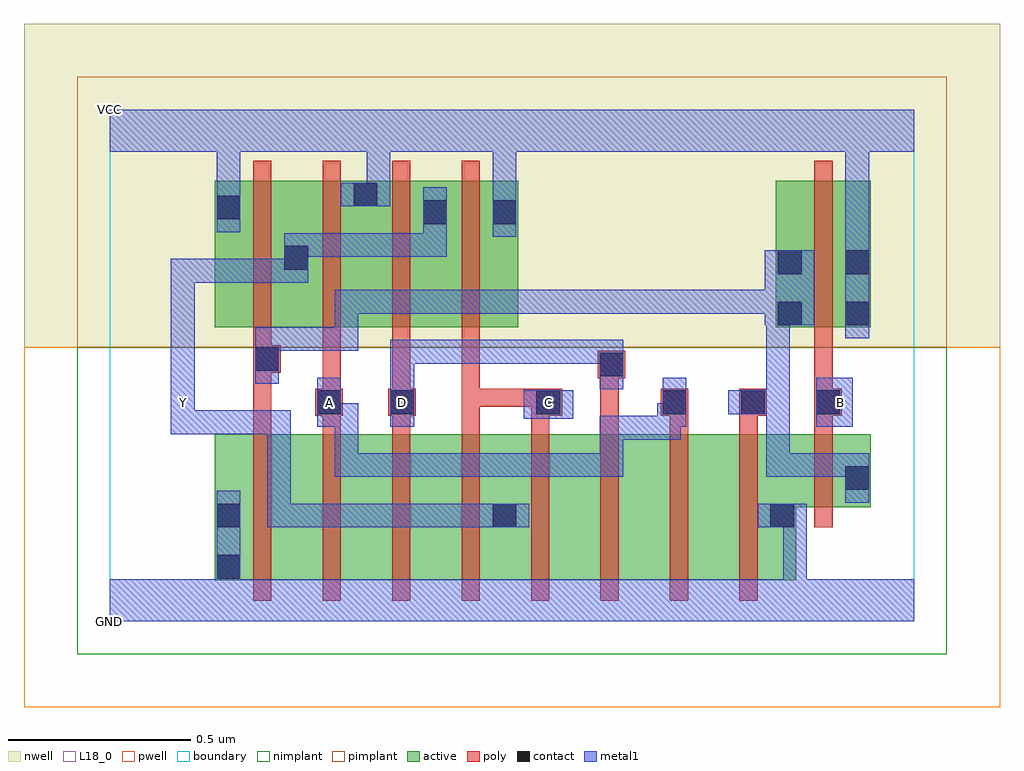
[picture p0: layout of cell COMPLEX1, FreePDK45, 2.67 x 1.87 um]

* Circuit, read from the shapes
.subckt COMPLEX1 A B C D GND VCC Y
M1 n1 n2 GND VSUBS nfet w=0.4u l=0.05u
M2 n3 A n1 VSUBS nfet w=0.4u l=0.05u
M3 n4 D n3 VSUBS nfet w=0.4u l=0.05u
M4 Y C n4 VSUBS nfet w=0.4u l=0.05u
M5 n5 C Y VSUBS nfet w=0.4u l=0.05u
M6 n6 D n5 VSUBS nfet w=0.4u l=0.05u
M7 n7 A n6 VSUBS nfet w=0.4u l=0.05u
M8 GND n2 n7 VSUBS nfet w=0.4u l=0.05u
M9 n2 B GND VSUBS nfet w=0.2u l=0.05u
M10 Y n2 VCC n8 pfet w=0.4u l=0.05u
M11 VCC A Y n8 pfet w=0.4u l=0.05u
M12 Y D VCC n8 pfet w=0.4u l=0.05u
M13 VCC C Y n8 pfet w=0.4u l=0.05u
M14 VCC B n2 n8 pfet w=0.4u l=0.05u
.ends

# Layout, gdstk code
import gdstk
lib = gdstk.Library(unit=1e-6, precision=1e-09)
def R(c, l, rs):  # rectangles x0, y0, x1, y1
    for r in rs: c.add(gdstk.rectangle(r[:2], r[2:], *l))
def A(c, l, x, y, w, h, nx, ny, dx, dy):  # array of equal rectangles
    R(c, l, [(x+i*dx, y+j*dy, x+i*dx+w, y+j*dy+h) for i in range(nx) for j in range(ny)])
active = (1, 0)
pwell = (2, 0)
nwell = (3, 0)
nimplant = (4, 0)
pimplant = (5, 0)
poly = (9, 0)
contact = (10, 0)
metal1 = (11, 0)
L18_0 = (18, 0)
boundary = (235, 0)

complex1 = lib.new_cell('COMPLEX1')
A(complex1, active, 0.472, 0.805, 0.265, 0.4, 3, 1, 0.19, 0)
R(complex1, active, [(0.287,0.112,0.362,0.512), (0.287,0.112,0.512,0.512), (0.512,0.112,0.702,0.512), (0.702,0.112,0.892,0.512), (0.892,0.112,1.117,0.512), (1.042,0.112,1.272,0.512), (1.272,0.112,1.462,0.512), (1.462,0.112,1.652,0.512), (1.652,0.112,1.877,0.512), (1.802,0.112,1.877,0.512), (1.042,0.2,1.117,0.492), (1.802,0.312,2.082,0.512), (2.007,0.312,2.082,0.512), (0.287,0.805,0.362,1.205), (0.287,0.805,0.547,1.205), (0.472,0.805,0.547,1.2), (1.822,0.805,2.082,1.205), (1.822,0.805,1.897,1.2), (2.007,0.805,2.082,1.205), (0.662,0.907,0.737,1.205), (0.852,0.907,0.927,1.2), (1.042,0.907,1.117,1.205)])
R(complex1, pwell, [(-0.235,-0.235,2.435,0.75)])
R(complex1, nwell, [(-0.235,0.75,2.435,1.635)])
R(complex1, nimplant, [(-0.09,-0.09,2.29,0.75)])
R(complex1, pimplant, [(-0.09,0.75,2.29,1.49)])
A(complex1, poly, 0.392, 0.057, 0.05, 0.51, 8, 1, 0.19, 0)
A(complex1, poly, 0.772, 0.517, 0.05, 0.095, 3, 1, 0.38, 0)
A(complex1, poly, 0.582, 0.587, 0.05, 0.213, 3, 1, 0.19, 0)
A(complex1, poly, 0.392, 0.75, 0.05, 0.51, 4, 1, 0.19, 0)
R(complex1, poly, [(1.927,0.257,1.977,0.567), (0.392,0.517,0.442,0.73), (0.582,0.517,0.632,0.612), (0.962,0.517,1.012,0.637), (1.342,0.517,1.392,0.715), (1.722,0.517,1.772,0.612), (1.927,0.517,1.977,0.612), (0.562,0.562,0.637,0.637), (0.762,0.562,0.837,0.637), (0.772,0.562,0.822,0.612), (0.772,0.562,0.822,0.612), (1.152,0.562,1.237,0.637), (1.507,0.562,1.582,0.637), (1.722,0.562,1.797,0.637), (1.927,0.562,2.002,0.637), (0.582,0.587,0.632,0.637), (0.582,0.587,0.632,0.637), (0.962,0.587,1.012,0.637), (0.962,0.587,1.012,0.637), (0.962,0.587,1.012,0.637), (0.962,0.587,1.202,0.637), (1.152,0.587,1.202,0.637), (1.152,0.587,1.202,0.637), (1.927,0.587,1.977,0.8), (1.927,0.587,1.977,0.637), (1.927,0.587,1.977,0.637), (1.335,0.665,1.41,0.74), (1.342,0.665,1.392,0.715), (1.342,0.665,1.392,0.715), (0.392,0.68,0.442,0.73), (0.392,0.68,0.442,0.73), (0.392,0.68,0.467,0.755), (0.392,0.705,0.442,0.8), (1.927,0.75,1.977,1.26)])
R(complex1, contact, [(0.292,0.117,0.357,0.182), (0.292,0.257,0.357,0.322), (1.047,0.257,1.112,0.322), (1.807,0.257,1.872,0.322), (2.012,0.36,2.077,0.425), (0.567,0.567,0.632,0.632), (0.767,0.567,0.832,0.632), (1.167,0.567,1.232,0.632), (1.512,0.567,1.577,0.632), (1.727,0.567,1.792,0.632), (1.932,0.567,1.997,0.632), (1.34,0.67,1.405,0.735), (0.397,0.685,0.462,0.75), (1.827,0.81,1.892,0.875), (2.012,0.81,2.077,0.875), (1.827,0.95,1.892,1.015), (2.012,0.95,2.077,1.015), (0.477,0.962,0.542,1.027), (0.857,1.087,0.922,1.152), (1.047,1.087,1.112,1.152), (0.292,1.1,0.357,1.165), (0.667,1.135,0.732,1.2)])
R(complex1, metal1, [(0,0,2.2,0.115), (0.292,0.05,0.357,0.147), (1.842,0.05,1.907,0.322), (0.292,0.082,0.357,0.357), (0.43,0.257,0.495,0.322), (0.43,0.257,0.68,0.322), (0.43,0.257,0.495,0.577), (0.615,0.257,0.68,0.322), (0.615,0.257,0.68,0.322), (0.615,0.257,0.68,0.322), (0.615,0.257,0.922,0.322), (0.857,0.257,0.922,0.322), (0.857,0.257,0.922,0.322), (0.857,0.257,0.922,0.322), (0.857,0.257,0.922,0.322), (0.857,0.257,0.922,0.322), (0.857,0.257,1.06,0.322), (0.995,0.257,1.06,0.322), (0.995,0.257,1.077,0.322), (1.012,0.257,1.147,0.322), (1.772,0.257,1.907,0.322), (2.012,0.325,2.077,0.46), (0.615,0.395,0.922,0.46), (0.615,0.395,0.68,0.597), (0.857,0.395,0.922,0.46), (0.857,0.395,0.922,0.46), (0.857,0.395,0.922,0.46), (0.857,0.395,1.06,0.46), (0.995,0.395,1.06,0.46), (0.995,0.395,1.06,0.46), (0.995,0.395,1.06,0.46), (0.995,0.395,1.06,0.46), (0.995,0.395,1.06,0.46), (0.995,0.395,1.197,0.46), (1.132,0.395,1.197,0.46), (1.132,0.395,1.405,0.46), (1.34,0.395,1.405,0.46), (1.34,0.395,1.405,0.562), (1.795,0.395,1.86,0.46), (1.795,0.395,2.077,0.46), (1.795,0.395,1.86,0.632), (2.012,0.395,2.077,0.46), (2.012,0.395,2.077,0.46), (1.34,0.497,1.405,0.562), (1.34,0.497,1.405,0.562), (1.34,0.497,1.405,0.562), (1.34,0.497,1.562,0.562), (1.497,0.497,1.562,0.597), (0.167,0.512,0.495,0.577), (0.167,0.512,0.232,0.667), (0.43,0.512,0.495,0.577), (0.43,0.512,0.495,0.577), (0.43,0.512,0.495,0.577), (0.567,0.532,0.632,0.667), (0.567,0.532,0.68,0.597), (0.767,0.532,0.832,0.667), (1.497,0.532,1.577,0.597), (1.512,0.532,1.577,0.667), (1.932,0.532,2.032,0.667), (1.132,0.555,1.267,0.632), (1.692,0.567,1.827,0.632), (1.762,0.567,1.86,0.632), (1.795,0.567,1.86,0.632), (1.795,0.567,1.86,0.875), (0.167,0.602,0.232,0.992), (0.767,0.602,0.832,0.667), (0.767,0.602,0.832,0.77), (1.34,0.635,1.405,0.77), (0.397,0.65,0.462,0.785), (0.767,0.705,1.06,0.77), (0.995,0.705,1.06,0.77), (0.995,0.705,1.267,0.77), (1.202,0.705,1.267,0.77), (1.202,0.705,1.267,0.77), (1.202,0.705,1.267,0.77), (1.202,0.705,1.405,0.77), (1.34,0.705,1.405,0.77), (1.34,0.705,1.405,0.77), (0.397,0.72,0.462,0.785), (0.397,0.72,0.462,0.805), (0.397,0.74,0.68,0.805), (0.615,0.74,0.68,0.805), (0.615,0.74,0.68,0.805), (0.615,0.74,0.68,0.805), (0.615,0.74,0.68,0.907), (2.012,0.775,2.077,1.05), (1.792,0.81,1.927,1.015), (1.795,0.81,1.86,0.875), (1.795,0.81,1.86,0.875), (0.615,0.842,0.68,0.907), (0.615,0.842,0.817,0.907), (0.752,0.842,0.817,0.907), (0.752,0.842,0.817,0.907), (0.752,0.842,0.817,0.907), (0.752,0.842,1.06,0.907), (0.995,0.842,1.06,0.907), (0.995,0.842,1.06,0.907), (0.995,0.842,1.06,0.907), (0.995,0.842,1.197,0.907), (1.132,0.842,1.197,0.907), (1.132,0.842,1.425,0.907), (1.36,0.842,1.425,0.907), (1.36,0.842,1.425,0.907), (1.36,0.842,1.425,0.907), (1.36,0.842,1.562,0.907), (1.497,0.842,1.562,0.907), (1.497,0.842,1.562,0.907), (1.497,0.842,1.562,0.907), (1.497,0.842,1.7,0.907), (1.635,0.842,1.7,0.907), (1.635,0.842,1.857,0.907), (1.792,0.842,1.857,0.907), (1.792,0.842,1.857,0.907), (0.167,0.927,0.232,0.992), (0.167,0.927,0.232,0.992), (0.167,0.927,0.232,0.992), (0.167,0.927,0.232,0.992), (0.167,0.927,0.232,0.992), (0.167,0.927,0.542,0.992), (0.477,0.927,0.542,1.062), (2.012,0.985,2.077,1.35), (0.477,0.997,0.542,1.062), (0.477,0.997,0.542,1.062), (0.477,0.997,0.68,1.062), (0.615,0.997,0.68,1.062), (0.615,0.997,0.68,1.062), (0.615,0.997,0.68,1.062), (0.615,0.997,0.922,1.062), (0.857,0.997,0.922,1.117), (0.857,1.052,0.922,1.117), (0.857,1.052,0.922,1.187), (1.047,1.052,1.112,1.187), (0.292,1.065,0.357,1.2), (1.047,1.122,1.112,1.35), (0.292,1.135,0.357,1.35), (0.632,1.135,0.767,1.2), (0.702,1.135,0.767,1.35), (0,1.285,2.2,1.4)])
R(complex1, L18_0, [(0,0,2.2,0.115), (0.292,0.05,0.357,0.147), (1.842,0.05,1.907,0.322), (0.292,0.082,0.357,0.357), (0.43,0.257,0.495,0.322), (0.43,0.257,0.495,0.577), (0.43,0.257,0.68,0.322), (0.615,0.257,0.68,0.322), (0.615,0.257,0.68,0.322), (0.615,0.257,0.68,0.322), (0.615,0.257,0.922,0.322), (0.857,0.257,0.922,0.322), (0.857,0.257,0.922,0.322), (0.857,0.257,0.922,0.322), (0.857,0.257,0.922,0.322), (0.857,0.257,0.922,0.322), (0.857,0.257,1.06,0.322), (0.995,0.257,1.06,0.322), (0.995,0.257,1.077,0.322), (1.012,0.257,1.147,0.322), (1.772,0.257,1.907,0.322), (0.615,0.395,0.68,0.597), (0.615,0.395,0.922,0.46), (0.857,0.395,0.922,0.46), (0.857,0.395,0.922,0.46), (0.857,0.395,0.922,0.46), (0.857,0.395,1.06,0.46), (0.995,0.395,1.06,0.46), (0.995,0.395,1.06,0.46), (0.995,0.395,1.06,0.46), (0.995,0.395,1.06,0.46), (0.995,0.395,1.06,0.46), (0.995,0.395,1.197,0.46), (1.132,0.395,1.197,0.46), (1.132,0.395,1.405,0.46), (1.34,0.395,1.405,0.46), (1.34,0.395,1.405,0.562), (1.34,0.497,1.405,0.562), (1.34,0.497,1.405,0.562), (1.34,0.497,1.405,0.562), (1.34,0.497,1.562,0.562), (1.497,0.497,1.562,0.597), (0.167,0.512,0.232,0.667), (0.167,0.512,0.495,0.577), (0.43,0.512,0.495,0.577), (0.43,0.512,0.495,0.577), (0.43,0.512,0.495,0.577), (0.567,0.532,0.632,0.667), (0.567,0.532,0.68,0.597), (0.767,0.532,0.832,0.667), (1.497,0.532,1.577,0.597), (1.512,0.532,1.577,0.667), (1.932,0.532,2.032,0.667), (1.132,0.555,1.267,0.632), (0.167,0.567,0.232,0.632), (0.567,0.567,0.632,0.632), (0.767,0.567,0.832,0.632), (1.167,0.567,1.232,0.632), (1.967,0.567,2.032,0.632), (0.167,0.602,0.232,0.992), (0.767,0.602,0.832,0.667), (0.767,0.602,0.832,0.77), (1.34,0.635,1.405,0.77), (0.767,0.705,1.06,0.77), (0.995,0.705,1.06,0.77), (0.995,0.705,1.267,0.77), (1.202,0.705,1.267,0.77), (1.202,0.705,1.267,0.77), (1.202,0.705,1.267,0.77), (1.202,0.705,1.405,0.77), (1.34,0.705,1.405,0.77), (1.34,0.705,1.405,0.77), (2.012,0.775,2.077,1.05), (0.167,0.927,0.232,0.992), (0.167,0.927,0.232,0.992), (0.167,0.927,0.232,0.992), (0.167,0.927,0.232,0.992), (0.167,0.927,0.232,0.992), (0.167,0.927,0.542,0.992), (0.477,0.927,0.542,1.062), (2.012,0.985,2.077,1.35), (0.477,0.997,0.542,1.062), (0.477,0.997,0.542,1.062), (0.477,0.997,0.68,1.062), (0.615,0.997,0.68,1.062), (0.615,0.997,0.68,1.062), (0.615,0.997,0.68,1.062), (0.615,0.997,0.922,1.062), (0.857,0.997,0.922,1.117), (0.857,1.052,0.922,1.117), (0.857,1.052,0.922,1.187), (1.047,1.052,1.112,1.187), (0.292,1.065,0.357,1.2), (1.047,1.122,1.112,1.35), (0.292,1.135,0.357,1.35), (0.632,1.135,0.767,1.2), (0.702,1.135,0.767,1.35), (0,1.285,2.2,1.4)])
R(complex1, boundary, [(0,0,2.2,1.4)])
complex1.add(gdstk.Label('A', (0.6,0.6), layer=11, texttype=0))
complex1.add(gdstk.Label('B', (2,0.6), layer=11, texttype=0))
complex1.add(gdstk.Label('C', (1.2,0.6), layer=11, texttype=0))
complex1.add(gdstk.Label('D', (0.8,0.6), layer=11, texttype=0))
complex1.add(gdstk.Label('Y', (0.2,0.6), layer=11, texttype=0))
complex1.add(gdstk.Label('VCC', (0,1.4), layer=11, texttype=0))
complex1.add(gdstk.Label('GND', (0,0), layer=11, texttype=0))

lib.write_gds('COMPLEX1.gds')
